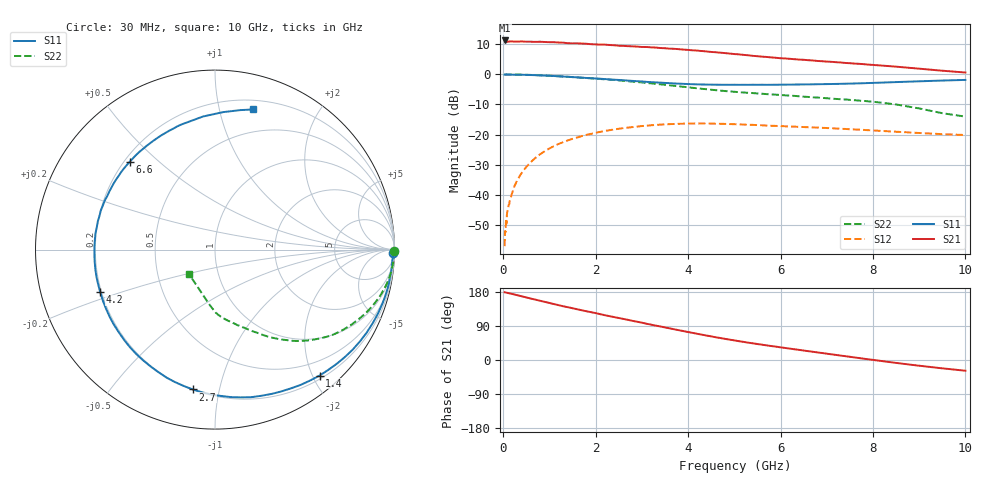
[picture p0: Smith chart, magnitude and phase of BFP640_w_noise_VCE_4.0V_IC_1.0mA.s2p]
! Infineon Technologies  Discrete & RF Semiconductors
! BFP640
! VCE =  4.0 V,  IC =  1.0 mA
! Common Emitter S-Parameters:  Apr 2013
# GHz  S  MA  R  50
!  f  S11  S21  S12  S22
! GHz  MAG  ANG  MAG  ANG  MAG  ANG  MAG  ANG
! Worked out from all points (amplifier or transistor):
!   99 points, 30 MHz to 10 GHz, reference 50 ohm
!   highest |S21| = 11.3 dB at 30 MHz (marker M1)
!   |S21| within 3 dB of that: start of sweep to 3.873 GHz
!   unconditionally stable (mu >= 1): 6.958 GHz to end of sweep
!   at 350 MHz: K = 0.01, MSG = 22.4 dB, |S12| = -33.9 dB
!   at 3.5 GHz: K = 0.44, MSG = 12.6 dB, |S12| = -16.6 dB
!   at 10 GHz: K = 1.46, MAG = 6.4 dB, |S12| = -20.1 dB
!   lowest NFmin = 0.65 dB at 450 MHz
!   S11 on the Smith chart (normalised r, x): 30 MHz: 42, -83; 1.4 GHz: 0.25, -2.11; 2.7 GHz: 0.20, -0.83; 4.2 GHz: 0.19, -0.17; 6.6 GHz: 0.22, +0.41; 10 GHz: 0.28, +1.27
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0.03  0.9904 -1.1  3.661 178.7  0.0014 96.0  0.9987 -0.6
0.04  0.9906 -1.4  3.457 178.4  0.0025 87.1  0.9989 -0.7
0.05  0.9913 -1.7  3.452 178.4  0.0024 67.4  0.9982 -0.9
0.06  0.9915 -2.0  3.465 177.9  0.004 97.1  0.9973 -1.0
0.07  0.9899 -2.5  3.456 177.7  0.0033 69.3  0.9992 -1.2
0.09  0.9902 -3.2  3.476 177.1  0.0054 78.8  0.9991 -1.6
0.25  0.9871 -8.8  3.506 172.6  0.0143 85.9  0.995 -4.4
0.35  0.9862 -12.4  3.506 169.6  0.0201 83.4  0.9918 -6.1
0.8  0.9635 -28.7  3.486 156.2  0.0472 72.9  0.9648 -13.6
1.1  0.9392 -39.6  3.425 147.5  0.0645 65.6  0.9398 -18.3
1.4  0.9122 -50.3  3.298 139.3  0.0802 58.2  0.9115 -22.8
1.7  0.8814 -61.3  3.252 131.2  0.0942 51.3  0.8807 -26.9
2.2  0.8355 -80.2  3.121 118.2  0.1148 40.1  0.8273 -33.8
2.7  0.7891 -99.0  2.943 105.9  0.1305 29.7  0.7704 -39.9
3.1  0.7515 -115.0  2.85 95.7  0.1405 21.9  0.7212 -44.6
3.4  0.7287 -127.0  2.741 88.5  0.1463 16.2  0.6842 -48.1
4.2  0.682 -159.6  2.483 69.1  0.1529 1.6  0.5872 -56.8
5.1  0.6703 169.2  2.152 49.7  0.1476 -11.7  0.5067 -64.6
6.6  0.6818 134.1  1.721 23.3  0.1323 -26.1  0.4218 -76.1
6.7  0.6839 132.0  1.702 21.7  0.1313 -26.8  0.4162 -77.0
8.5  0.7447 95.1  1.344 -7.7  0.1115 -36.7  0.3165 -94.4
10  0.8095 74.7  1.074 -28.3  0.0984 -37.2  0.1987 -137.7
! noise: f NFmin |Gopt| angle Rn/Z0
0.45  0.65  0.65  13  0.46
0.9  0.72  0.66  25  0.45
1.5  0.9  0.57  42  0.42
1.9  0.97  0.53  56  0.41
2.4  1.04  0.5  66  0.39
3.5  1.24  0.43  95  0.34
5.5  1.75  0.38  -177  0.34
10  3.04  0.68  -70  1.23
